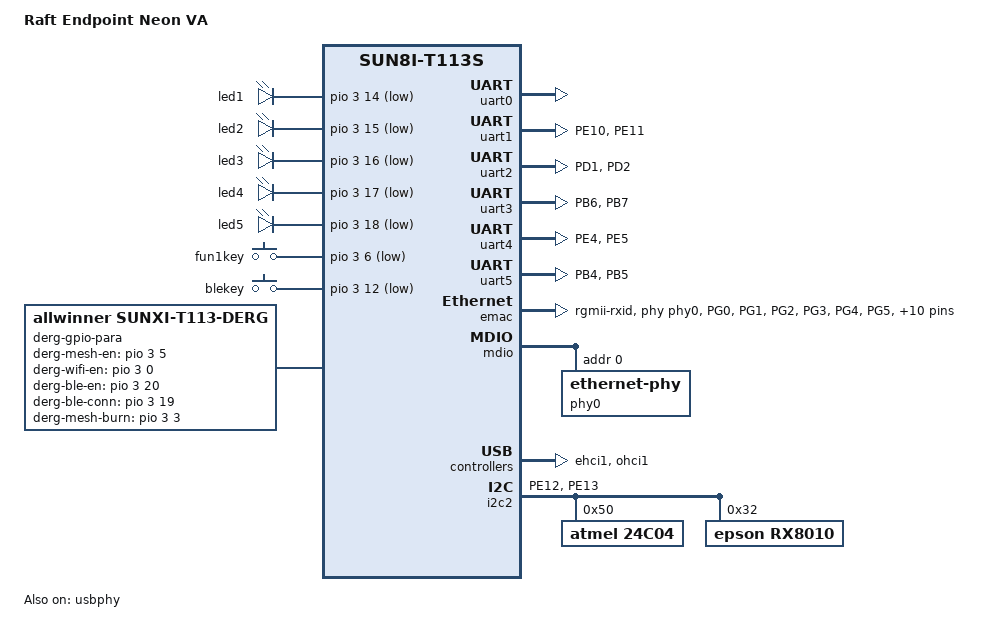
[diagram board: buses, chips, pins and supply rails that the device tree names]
// SPDX-License-Identifier: (GPL-2.0+ OR MIT)
// Copyright (C) 2022 Arm Ltd.

#include <dt-bindings/interrupt-controller/irq.h>

/dts-v1/;

#include "sun8i-t113s.dtsi"
#include "sunxi-d1s-t113-mangopi-mq-r.dtsi"

/ {
	model = "Raft Endpoint Neon VA";
	compatible = "widora,mangopi-mq-r-t113", "allwinner,sun8i-t113s";

	aliases {
                serial0 = &uart0;
	};

        chosen {
               stdout-path = "serial0:115200n8";
        };

        derg-leds {
                compatible = "gpio-leds";
                led0 {
                        label = "led1";
                        gpios = <&pio 3 14 GPIO_ACTIVE_LOW>;
                        default-state = "off";
                };
                led1 {
                        label = "led2";
                        gpios = <&pio 3 15 GPIO_ACTIVE_LOW>;
                        default-state = "off";
                };
                led2 {
                        label = "led3";
                        gpios = <&pio 3 16 GPIO_ACTIVE_LOW>;
                        default-state = "off";
                };
                led3 {
                        label = "led4";
                        gpios = <&pio 3 17 GPIO_ACTIVE_LOW>;
                        default-state = "off";
                };
                led4 {
                        label = "led5";
                        gpios = <&pio 3 18 GPIO_ACTIVE_LOW>;
                        default-state = "off";
                };
        };

	derg-gpiokey {
		compatible = "gpio-keys";

                fun1key {
                        device_type = "fun1key";
                        label = "fun1key";
                        gpios = <&pio 3 6 GPIO_ACTIVE_LOW>;
                        linux,input-type = <1>;
                        linux,code = <139>;
			debounce-interval = <5>;
			gpio-key,wakeup;
                };

                blekey {
                        device_type = "blekey";
                        label = "blekey";
                        gpios = <&pio 3 12 GPIO_ACTIVE_LOW>;
                        linux,input-type = <1>;
                        linux,code = <140>;
			debounce-interval = <5>;
			gpio-key,wakeup;
                };
	};

	derg-gpio-para {
                compatible = "allwinner,sunxi-t113-derg";

                derg-mesh-en-gpios = <&pio 3 5 (GPIO_ACTIVE_HIGH | GPIO_PULL_UP)>;
                derg-wifi-en-gpios = <&pio 3 0 (GPIO_ACTIVE_HIGH | GPIO_PULL_UP)>;
                derg-ble-en-gpios = <&pio 3 20 (GPIO_ACTIVE_HIGH | GPIO_PULL_UP)>;
                derg-ble-conn-gpios = <&pio 3 19 GPIO_ACTIVE_HIGH>;
                derg-mesh-burn-gpios = <&pio 3 3 (GPIO_ACTIVE_HIGH | GPIO_PULL_UP)>;
	};

	watchdog {
		compatible = "allwinner,sun20i-d1-wdt";
		reg = <0x020500A0 0x20>;
	};

};

&pio {
        rgmii_pg_pins: rgmii-pg-pins {
	        pins = "PG0", "PG1", "PG2", "PG3", "PG4",
	        "PG5", "PG6", "PG7", "PG8", "PG9", "PG10",
	        "PG11", "PG12", "PG13", "PG14", "PG15";
	        function = "emac";
        };

	ble_uart1_pins: ble_uart1_pins {
		pins = "PE10", "PE11";
		function = "uart1";
	};

	mesh1_uart5_pins: mesh1_uart5_pins {
		pins = "PB4", "PB5";
		function = "uart5";
	};

        mesh2_uart2_pins: mesh1_uart2_pins {
                pins = "PD1", "PD2";
                function = "uart2";
        };

        u485_uart3_pins: u485_uart3_pins {
                pins = "PB6", "PB7";
                function = "uart3";
        };

        u485_uart4_pins: u485_uart4_pins {
                pins = "PE4", "PE5";
                function = "uart4";
        };

	i2c2_bus_pins: i2c2_bus_pins {
		pins = "PE12", "PE13";
		function = "i2c2";
	};
};

&cpu0 {
	cpu-supply = <&reg_vcc_core>;
};

&cpu1 {
	cpu-supply = <&reg_vcc_core>;
};

&uart0 {
	pinctrl-names = "default";
	pinctrl-0 = <&uart0_pe_pins>;
	status = "okay";
};

&uart1 {
        pinctrl-names = "default";
        pinctrl-0 = <&ble_uart1_pins>;
        status = "okay";
};

&uart2 {
        pinctrl-names = "default";
        pinctrl-0 = <&mesh2_uart2_pins>;
        status = "okay";
};

&uart3 {
        pinctrl-names = "default";
        pinctrl-0 = <&u485_uart3_pins>;
        status = "okay";
};

&uart4 {
        pinctrl-names = "default";
        pinctrl-0 = <&u485_uart4_pins>;
        status = "okay";
};

&uart5 {
        pinctrl-names = "default";
        pinctrl-0 = <&mesh1_uart5_pins>;
        status = "okay";
};

&mmc0 {
      /delete-property/ cd-gpios;
};

&can0 {
       pinctrl-names = "default";
       pinctrl-0 = <&can0_pins>;
       status = "disable";
};

&can1 {
       pinctrl-names = "default";
       pinctrl-0 = <&can1_pins>;
       status = "disable";
};

&emac {
	compatible = "allwinner,sun50i-h6-emac";
	pinctrl-0 = <&rgmii_pg_pins>;
	pinctrl-names = "default";
	clocks = <&ccu CLK_BUS_EMAC>, <&ccu CLK_EMAC_25M>;
	clock-names = "stmmaceth", "pclk";
	phy-mode = "rgmii-rxid";
	phy-handle = <&phy0>;
	allwinner,tx-delay-ps = <300>;
	status = "okay";
};

&mdio {
        phy0: ethernet-phy@0 {
                reg=<0>;
                motorcomm,clk-out-frequency-hz = <0>;
                motorcomm,auto-sleep-disabled;
                motorcomm,keep-pll-enabled;
                rx-internal-delay-ps = <1050>;
        };
};

&mmc1 {
        status = "disable";
};

&wifi_pwrseq {
        status = "disable";
};

&usbphy {
	status = "okay";
};

&ehci0 {
        status = "disable";
};

&ohci0 {
        status = "disable";
};

&ehci1 {
        status = "okay";
};

&ohci1 {
        status = "okay";
};

&usb_otg {
        status = "disable";
};

&i2c2 {
	status = "okay";
	pinctrl-names = "default";
	pinctrl-0 = <&i2c2_bus_pins>;

        24c04@50 {
                compatible = "atmel,24c04";
                reg = <0x50>;
		pagesize = <16>;
		size = <512>;
        };

	rx8010@32{
                compatible = "epson,rx8010";
                reg = <0x32>;
        };
};
